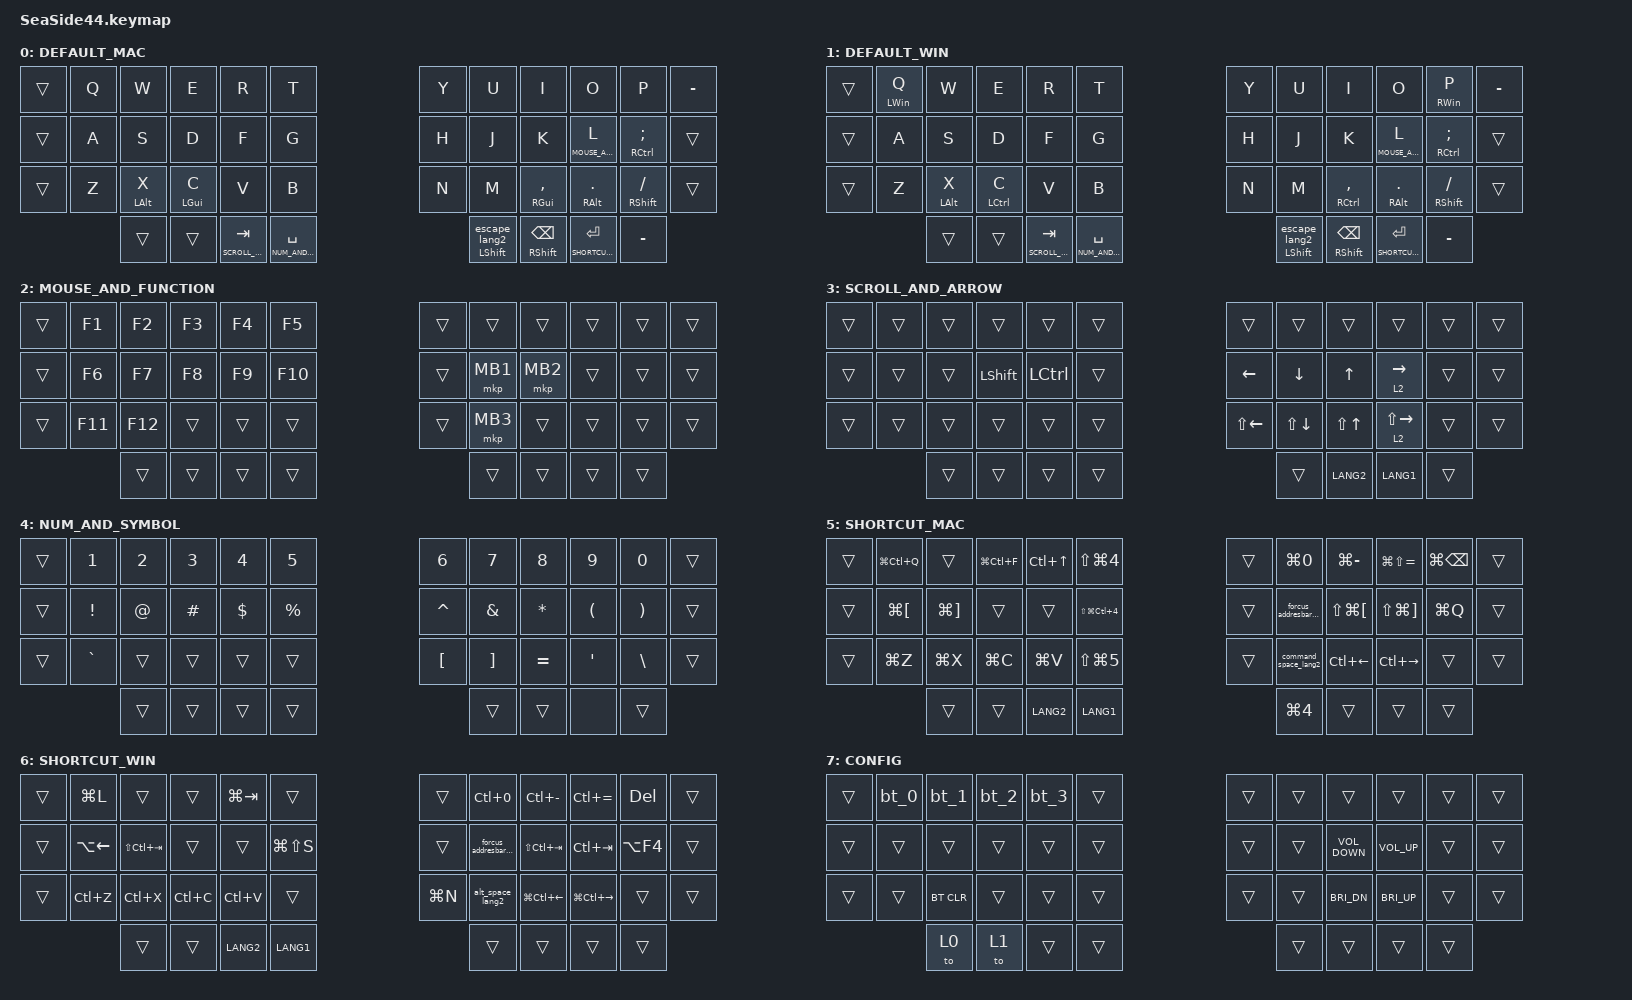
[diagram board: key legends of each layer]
#include <behaviors.dtsi>
#include <dt-bindings/zmk/bt.h>
#include <dt-bindings/zmk/keys.h>
#include <dt-bindings/zmk/pointing.h>

#define DEFAULT_MAC 0
#define DEFAULT_WIN 1
#define MOUSE 2
#define MOUSE_AND_FUNCTION 2
#define SCROLL_AND_ARROW 3
#define NUM_AND_SYMBOL 4
#define SHORTCUT_MAC 5
#define SHORTCUT_WIN 6
#define CONFIG 7

// OS設定を日本語キーボードのまま使用するための変換定義

#define JIS_EQUAL        UNDER             // =
#define JIS_PLUS         COLON             // +
#define JIS_COLON        SINGLE_QUOTE      // :
#define JIS_UNDERSCORE   LS(0x87)          // _
#define JIS_LBRACKET     RIGHT_BRACKET     // [
#define JIS_RBRACKET     BACKSLASH         // ]
#define JIS_LBRACE       RIGHT_BRACE       // {
#define JIS_RBRACE       PIPE              // }
#define JIS_YEN          0x89              // ¥
#define JIS_PIPE         LS(0x89)          // |
#define JIS_KANA         LANGUAGE_1        // かな
#define JIS_EISU         LANGUAGE_2        // 英数
#define JIS_HANZEN       GRAVE             // 半角/全角
#define JIS_BACKQUOTE    LEFT_BRACE        // `
#define JIS_TILDE        PLUS              // ~
#define JIS_AT           LEFT_BRACKET      // @
#define JIS_CARET        EQUAL             // ^
#define JIS_AMPERSAND    CARET             // &
#define JIS_ASTERISK     DOUBLE_QUOTES     // *
#define JIS_LPAR         ASTERISK          // (
#define JIS_RPAR         LEFT_PARENTHESIS  // )
#define JIS_DQUOTE       AT                // "
#define JIS_QUOTE        AMPERSAND         // '

&mt {
    flavor = "balanced";
    quick-tap-ms = <200>;
    tapping-term-ms = <150>;
};

&lt {
    flavor = "balanced";
    quick-tap-ms = <200>;
    tapping-term-ms = <150>;
};

/ {
    combos {
        compatible = "zmk,combos";

        right_gui_mac {
            bindings = <&kp RIGHT_GUI>;
            key-positions = <20 21>;
            layers = <DEFAULT_MAC>;
        };

        right_alt_win {
            bindings = <&kp RIGHT_ALT>;
            key-positions = <20 21>;
            layers = <DEFAULT_WIN>;
        };

        left_gui_mac {
            bindings = <&kp LEFT_GUI>;
            key-positions = <14 15>;
            layers = <DEFAULT_MAC>;
        };

        lefr_alt_win {
            bindings = <&kp LEFT_ALT>;
            key-positions = <14 15>;
            layers = <DEFAULT_WIN>;
        };

        left_config {
            bindings = <&mo CONFIG>;
            key-positions = <15 16>;
        };

        right_config {
            bindings = <&mo CONFIG>;
            key-positions = <19 20>;
        };
    };

    macros {
        // エスケープキーと半角モード
        escape_lang2: escape_lang2 {
            compatible = "zmk,behavior-macro";
            #binding-cells = <0>;
            bindings = <&kp ESCAPE &kp LANG2>;
            label = "ESCAPE_LANG2";
        };

        // Windowsのランチャー起動
        alt_space_lang2: alt_space_lang2 {
            compatible = "zmk,behavior-macro";
            #binding-cells = <0>;
            bindings = <&kp LG(LA(SPACE)) &kp LANG2>;
            label = "ALT_SPACE_LANG2";
        };

        // Macのランチャー起動
        command_space_lang2: command_space_lang2 {
            compatible = "zmk,behavior-macro";
            #binding-cells = <0>;
            bindings = <&kp LG(SPACE) &kp LANG2>;
            label = "COMMAND_SPACE_LANG2";
        };

        // アドレスバーにフォーカスして半角にする Windows
        forcus_addresbar_win: forcus_addresbar_win {
            compatible = "zmk,behavior-macro";
            #binding-cells = <0>;
            bindings = <&kp LC(L) &kp LANG2 &kp N &kp M &kp SPACE>;
            label = "FORCUS_ADDRESBAR_WIN";
        };

        // アドレスバーにフォーカスして半角にする Mac
        forcus_addresbar_mac: forcus_addresbar_mac {
            compatible = "zmk,behavior-macro";
            #binding-cells = <0>;
            bindings = <&kp LG(L) &kp LANG2 &kp N &kp M &kp SPACE>;
            label = "FORCUS_ADDRESBAR_MAC";
        };

        bt_0: bt_0 {
            compatible = "zmk,behavior-macro";
            #binding-cells = <0>;
            bindings = <&bt BT_SEL 0 &to 0>;
            label = "BT_0";
        };

        bt_1: bt_1 {
            compatible = "zmk,behavior-macro";
            #binding-cells = <0>;
            bindings = <&bt BT_SEL 1 &to 0>;
            label = "BT_1";
        };

        bt_2: bt_2 {
            compatible = "zmk,behavior-macro";
            #binding-cells = <0>;
            bindings = <&bt BT_SEL 2 &to 1>;
            label = "BT_2";
        };

        bt_3: bt_3 {
            compatible = "zmk,behavior-macro";
            #binding-cells = <0>;
            bindings = <&bt BT_SEL 3 &to 0>;
            label = "BT_3";
        };
    };

    behaviors {
        mtl: mtl {
            compatible = "zmk,behavior-hold-tap";
            label = "MTL";
            bindings = <&kp>, <&kp>;

            #binding-cells = <2>;
            flavor = "balanced";
            quick-tap-ms = <300>;
            tapping-term-ms = <300>;
        };

        mthp: mthp {
            compatible = "zmk,behavior-hold-tap";
            label = "MTHP";
            bindings = <&kp>, <&kp>;

            #binding-cells = <2>;
            flavor = "hold-preferred";
            quick-tap-ms = <200>;
            tapping-term-ms = <300>;
        };

        mt_escape: mt_escape {
            compatible = "zmk,behavior-hold-tap";
            label = "MT_ESCAPE";
            bindings = <&kp>, <&escape_lang2>;

            #binding-cells = <2>;
            flavor = "balanced";
            quick-tap-ms = <200>;
            tapping-term-ms = <300>;
        };
    };

    keymap {
        compatible = "zmk,keymap";

        DEFAULT_MAC {
            bindings = <
&trans  &kp Q  &kp W           &kp E           &kp R                     &kp T                                                                       &kp Y                   &kp U  &kp I                &kp O                     &kp P                &kp MINUS
&trans  &kp A  &kp S           &kp D           &kp F                     &kp G                                                                       &kp H                   &kp J  &kp K                &lt MOUSE_AND_FUNCTION L  &mt RCTRL SEMICOLON  &trans
&trans  &kp Z  &mt LEFT_ALT X  &mt LEFT_GUI C  &kp V                     &kp B                                                                       &kp N                   &kp M  &mt RIGHT_GUI COMMA  &mt RALT PERIOD           &mt RSHIFT SLASH     &trans
               &trans          &trans          &lt SCROLL_AND_ARROW TAB  &lt NUM_AND_SYMBOL SPACE  &mt_escape LSHIFT 0    &mt RIGHT_SHIFT BACKSPACE  &lt SHORTCUT_MAC ENTER                                                        &kp MINUS
            >;
        };

        DEFAULT_WIN {
            bindings = <
&trans  &mt LEFT_WIN Q  &kp W           &kp E        &kp R                     &kp T                                                                       &kp Y                   &kp U  &kp I            &kp O                     &mt RIGHT_WIN P      &kp MINUS
&trans  &kp A           &kp S           &kp D        &kp F                     &kp G                                                                       &kp H                   &kp J  &kp K            &lt MOUSE_AND_FUNCTION L  &mt RCTRL SEMICOLON  &trans
&trans  &kp Z           &mt LEFT_ALT X  &mt LCTRL C  &kp V                     &kp B                                                                       &kp N                   &kp M  &mt RCTRL COMMA  &mt RALT PERIOD           &mt RSHIFT SLASH     &trans
                        &trans          &trans       &lt SCROLL_AND_ARROW TAB  &lt NUM_AND_SYMBOL SPACE  &mt_escape LSHIFT 0    &mt RIGHT_SHIFT BACKSPACE  &lt SHORTCUT_WIN ENTER                                                    &kp MINUS
            >;
        };

        MOUSE_AND_FUNCTION {
            bindings = <
&trans  &kp F1   &kp F2   &kp F3  &kp F4  &kp F5                     &trans  &trans    &trans    &trans  &trans  &trans
&trans  &kp F6   &kp F7   &kp F8  &kp F9  &kp F10                    &trans  &mkp MB1  &mkp MB2  &trans  &trans  &trans
&trans  &kp F11  &kp F12  &trans  &trans  &trans                     &trans  &mkp MB3  &trans    &trans  &trans  &trans
                 &trans   &trans  &trans  &trans   &trans    &trans  &trans                              &trans
            >;
        };

        //  コマンドキーやオプションキーと同時押しが必要なキーはここには書かない
        SCROLL_AND_ARROW {
            bindings = <
&trans  &trans  &trans  &trans      &trans     &trans                       &trans              &trans              &trans            &trans                 &trans  &trans
&trans  &trans  &trans  &kp LSHIFT  &kp LCTRL  &trans                       &kp LEFT_ARROW      &kp DOWN_ARROW      &kp UP_ARROW      &lt 2 RIGHT_ARROW      &trans   &trans
&trans  &trans  &trans  &trans      &trans     &trans                       &kp LS(LEFT_ARROW)  &kp LS(DOWN_ARROW)  &kp LS(UP_ARROW)  &lt 2 LS(RIGHT_ARROW)  &trans   &trans
                &trans  &trans      &trans     &trans  &trans    &kp LANG2  &kp LANG1                                                                        &trans
            >;
        };

        NUM_AND_SYMBOL {
            bindings = <
&trans  &kp N1           &kp N2       &kp N3    &kp N4      &kp N5                         &kp N6            &kp N7             &kp N8        &kp N9            &kp N0         &trans
&trans  &kp EXCLAMATION  &kp AT_SIGN  &kp HASH  &kp DOLLAR  &kp PERCENT                    &kp CARET         &kp AMPERSAND      &kp ASTERISK  &kp LPAR          &kp RPAR       &trans
&trans  &kp GRAVE        &trans       &trans    &trans      &trans                         &kp LEFT_BRACKET  &kp RIGHT_BRACKET  &kp EQUAL     &kp SINGLE_QUOTE  &kp BACKSLASH  &trans
                         &trans       &trans    &trans      &trans       &trans    &trans  &none                                                                &trans
            >;
        };

        SHORTCUT_MAC {
            bindings = <
&trans  &kp LG(LC(Q))         &trans                 &kp LG(LC(F))  &kp LC(UP_ARROW)  &kp LS(LG(N4))                          &trans  &kp LG(N0)             &kp LG(MINUS)             &kp LG(LS(EQUAL))          &kp LG(BACKSPACE)  &trans
&trans  &kp LG(LEFT_BRACKET)  &kp LG(RIGHT_BRACKET)  &trans         &trans            &kp LS(LG(LC(N4)))                      &trans  &forcus_addresbar_mac  &kp LS(LG(LEFT_BRACKET))  &kp LS(LG(RIGHT_BRACKET))  &kp LG(Q)          &trans
&trans  &kp LG(Z)             &kp LG(X)              &kp LG(C)      &kp LG(V)         &kp LS(LG(N5))                          &trans  &command_space_lang2   &kp LC(LEFT_ARROW)        &kp LC(RIGHT_ARROW)        &trans             &trans
                              &trans                 &trans         &kp LANG2         &kp LANG1           &kp LG(N4)  &trans  &trans                                                                              &trans
            >;
        };

        SHORTCUT_WIN {
            bindings = <
&trans  &kp LG(L)           &trans           &trans     &kp LG(TAB)  &trans                           &trans     &kp LC(N0)             &kp LC(MINUS)           &kp LC(EQUAL)            &kp DELETE  &trans
&trans  &kp LA(LEFT_ARROW)  &kp LS(LC(TAB))  &trans     &trans       &kp LG(LS(S))                    &trans     &forcus_addresbar_win  &kp LS(LC(TAB))         &kp LC(TAB)              &kp LA(F4)  &trans
&trans  &kp LC(Z)           &kp LC(X)        &kp LC(C)  &kp LC(V)    &trans                           &kp LG(N)  &alt_space_lang2       &kp LG(LC(LEFT_ARROW))  &kp LG(LC(RIGHT_ARROW))  &trans      &trans
                            &trans           &trans     &kp LANG2    &kp LANG1      &trans    &trans  &trans                                                                             &trans
            >;
        };

        CONFIG {
            bindings = <
&trans  &bt_0   &bt_1       &bt_2   &bt_3   &trans                    &trans  &trans  &trans             &trans           &trans  &trans
&trans  &trans  &trans      &trans  &trans  &trans                    &trans  &trans  &kp C_VOLUME_DOWN  &kp C_VOLUME_UP  &trans  &trans
&trans  &trans  &bt BT_CLR  &trans  &trans  &trans                    &trans  &trans  &kp C_BRI_DN       &kp C_BRI_UP     &trans  &trans
                &to 0       &to 1   &trans  &trans  &trans    &trans  &trans                                              &trans
            >;
        };
    };
};
